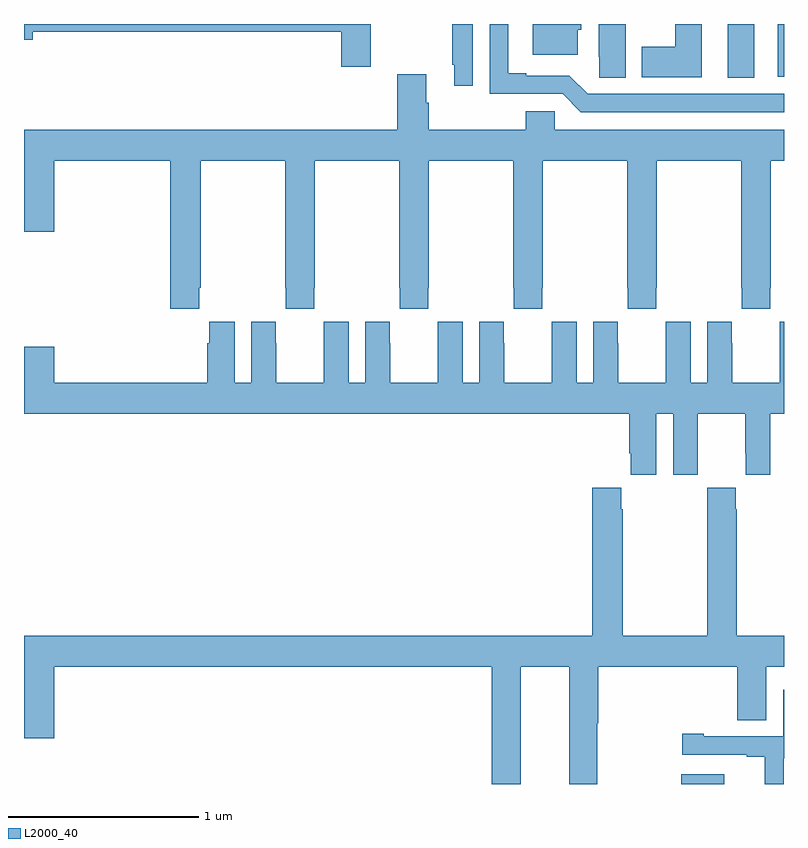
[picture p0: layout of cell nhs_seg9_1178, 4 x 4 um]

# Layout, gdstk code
import gdstk
lib = gdstk.Library(unit=1e-6, precision=1e-09)
def R(c, l, rs):  # rectangles x0, y0, x1, y1
    for r in rs: c.add(gdstk.rectangle(r[:2], r[2:], *l))
def P(c, l, *ps):  # polygons
    for p in ps: c.add(gdstk.Polygon(p, *l))
L2000_40 = (2000, 40)

nhs_seg9_1178 = lib.new_cell('nhs_seg9_1178')
R(nhs_seg9_1178, L2000_40, [(180.458,1166.5,180.685,1166.551), (180.704,1170.217,180.844,1170.5), (180.968,1170.222,181,1170.5)])
P(nhs_seg9_1178, L2000_40, [(180.568,1170.5),(180.428,1170.5),(180.428,1170.381),(180.251,1170.381),(180.251,1170.221),(180.568,1170.221)],
  [(181,1170.132),(179.967,1170.132),(179.871,1170.228),(179.644,1170.228),(179.644,1170.241),(179.548,1170.241),(179.548,1170.5),(179.451,1170.5),(179.451,1170.132),(179.835,1170.132),(179.931,1170.036),(181,1170.036)],
  [(179.361,1170.5),(179.253,1170.5),(179.253,1170.286),(179.264,1170.286),(179.264,1170.174),(179.361,1170.174)],
  [(180.166,1170.5),(180.026,1170.5),(180.026,1170.328),(180.027,1170.328),(180.027,1170.217),(180.166,1170.217)],
  [(179.914,1170.471),(179.932,1170.471),(179.932,1170.5),(179.678,1170.5),(179.678,1170.338),(179.914,1170.338)],
  [(178.824,1170.5),(177,1170.5),(177,1170.418),(177.046,1170.418),(177.046,1170.46),(178.67,1170.46),(178.67,1170.276),(178.824,1170.276)],
  [(177.923,1169.113),(177.93,1169.113),(177.93,1169.78),(178.375,1169.78),(178.375,1169.113),(178.377,1169.113),(178.377,1169.001),(178.527,1169.001),(178.527,1169.113),(178.53,1169.113),(178.53,1169.78),(178.975,1169.78),(178.975,1169.113),(178.977,1169.113),(178.977,1169.001),(179.127,1169.001),(179.127,1169.113),(179.13,1169.113),(179.13,1169.78),(179.575,1169.78),(179.575,1169.113),(179.577,1169.113),(179.577,1169.001),(179.727,1169.001),(179.727,1169.113),(179.73,1169.113),(179.73,1169.78),(180.175,1169.78),(180.175,1169.113),(180.177,1169.113),(180.177,1169.001),(180.327,1169.001),(180.327,1169.113),(180.33,1169.113),(180.33,1169.78),(180.775,1169.78),(180.775,1169.113),(180.777,1169.113),(180.777,1169.001),(180.927,1169.001),(180.927,1169.113),(180.93,1169.113),(180.93,1169.78),(181,1169.78),(181,1169.944),(179.793,1169.944),(179.793,1170.042),(179.642,1170.042),(179.642,1169.944),(179.129,1169.944),(179.129,1170.086),(179.116,1170.086),(179.116,1170.235),(178.964,1170.235),(178.964,1169.944),(177,1169.944),(177,1169.406),(177.16,1169.406),(177.16,1169.78),(177.77,1169.78),(177.77,1169.001),(177.923,1169.001)],
  [(179.778,1168.933),(179.778,1168.82),(179.777,1168.82),(179.777,1168.612),(179.527,1168.612),(179.527,1168.82),(179.526,1168.82),(179.526,1168.933),(179.396,1168.933),(179.396,1168.612),(179.308,1168.612),(179.308,1168.933),(179.178,1168.933),(179.178,1168.82),(179.177,1168.82),(179.177,1168.612),(178.927,1168.612),(178.927,1168.82),(178.926,1168.82),(178.926,1168.933),(178.796,1168.933),(178.796,1168.612),(178.708,1168.612),(178.708,1168.933),(178.578,1168.933),(178.578,1168.82),(178.577,1168.82),(178.577,1168.612),(178.327,1168.612),(178.327,1168.82),(178.326,1168.82),(178.326,1168.933),(178.196,1168.933),(178.196,1168.612),(178.108,1168.612),(178.108,1168.933),(177.974,1168.933),(177.974,1168.82),(177.965,1168.82),(177.965,1168.612),(177.16,1168.612),(177.16,1168.801),(177,1168.801),(177,1168.448),(180.185,1168.448),(180.185,1168.24),(180.194,1168.24),(180.194,1168.128),(180.328,1168.128),(180.328,1168.448),(180.416,1168.448),(180.416,1168.128),(180.546,1168.128),(180.546,1168.24),(180.547,1168.24),(180.547,1168.448),(180.797,1168.448),(180.797,1168.24),(180.798,1168.24),(180.798,1168.128),(180.928,1168.128),(180.928,1168.448),(181,1168.448),(181,1168.933),(180.978,1168.933),(180.978,1168.82),(180.977,1168.82),(180.977,1168.612),(180.727,1168.612),(180.727,1168.82),(180.726,1168.82),(180.726,1168.933),(180.596,1168.933),(180.596,1168.612),(180.508,1168.612),(180.508,1168.933),(180.378,1168.933),(180.378,1168.82),(180.377,1168.82),(180.377,1168.612),(180.127,1168.612),(180.127,1168.82),(180.126,1168.82),(180.126,1168.933),(179.996,1168.933),(179.996,1168.612),(179.908,1168.612),(179.908,1168.933)],
  [(179.614,1167.116),(179.87,1167.116),(179.87,1166.5),(180.018,1166.5),(180.018,1166.82),(180.023,1166.82),(180.023,1167.116),(180.755,1167.116),(180.755,1166.836),(180.907,1166.836),(180.907,1167.116),(181,1167.116),(181,1167.28),(180.75,1167.28),(180.75,1167.947),(180.747,1167.947),(180.747,1168.06),(180.597,1168.06),(180.597,1167.947),(180.595,1167.947),(180.595,1167.28),(180.15,1167.28),(180.15,1167.947),(180.143,1167.947),(180.143,1168.06),(179.99,1168.06),(179.99,1167.28),(177,1167.28),(177,1166.742),(177.16,1166.742),(177.16,1167.116),(179.462,1167.116),(179.462,1166.5),(179.614,1166.5)],
  [(180.999,1166.635),(181,1166.635),(181,1166.997),(180.996,1166.997),(180.996,1166.751),(180.577,1166.751),(180.577,1166.764),(180.465,1166.764),(180.465,1166.655),(180.803,1166.655),(180.803,1166.643),(180.899,1166.643),(180.899,1166.5),(180.999,1166.5)])

lib.write_gds('nhs_seg9_1178.gds')
